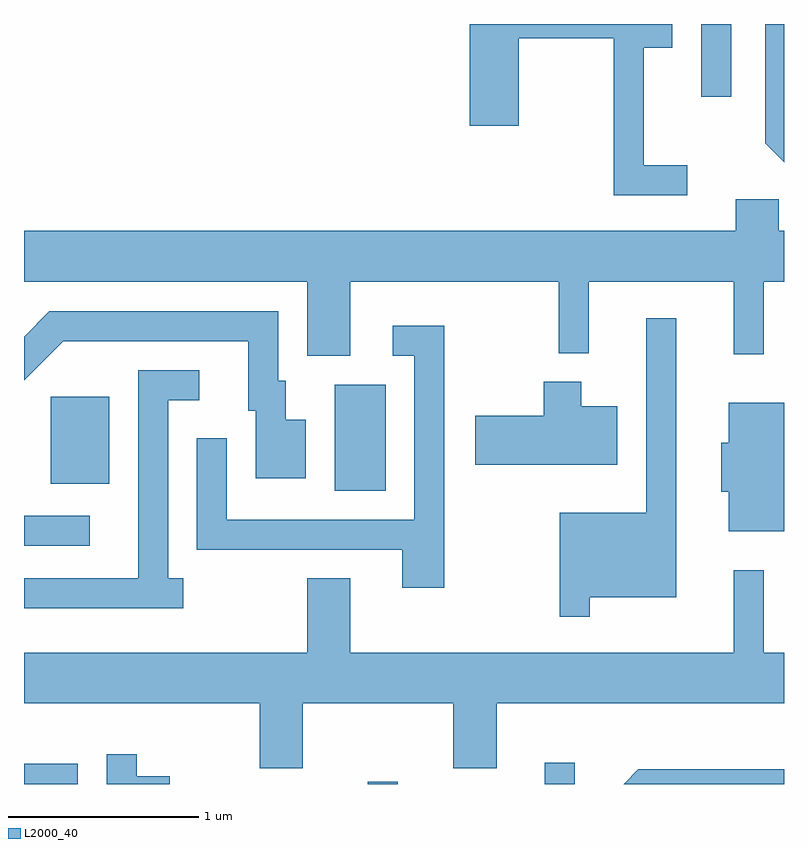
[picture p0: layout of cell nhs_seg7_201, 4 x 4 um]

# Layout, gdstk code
import gdstk
lib = gdstk.Library(unit=1e-6, precision=1e-09)
def R(c, l, rs):  # rectangles x0, y0, x1, y1
    for r in rs: c.add(gdstk.rectangle(r[:2], r[2:], *l))
def P(c, l, *ps):  # polygons
    for p in ps: c.add(gdstk.Polygon(p, *l))
L2000_40 = (2000, 40)

nhs_seg7_201 = lib.new_cell('nhs_seg7_201')
R(nhs_seg7_201, L2000_40, [(189.611,1798.252,189.894,1798.359), (191.421,1798.252,191.579,1798.263), (192.351,1798.252,192.509,1798.363), (189.611,1799.506,189.958,1799.664), (191.246,1799.796,191.514,1800.354), (189.751,1799.831,190.059,1800.289), (193.176,1801.868,193.334,1802.252)])
P(nhs_seg7_201, L2000_40, [(193.103,1801.509),(192.874,1801.509),(192.874,1802.126),(193.024,1802.126),(193.024,1802.252),(191.956,1802.252),(191.956,1801.716),(192.214,1801.716),(192.214,1802.176),(192.716,1802.176),(192.716,1801.351),(193.103,1801.351)],
  [(193.611,1802.252),(193.511,1802.252),(193.511,1801.624),(193.611,1801.524)],
  [(191.329,1800.896),(192.426,1800.896),(192.426,1800.518),(192.584,1800.518),(192.584,1800.896),(193.346,1800.896),(193.346,1800.513),(193.504,1800.513),(193.504,1800.896),(193.611,1800.896),(193.611,1801.164),(193.584,1801.164),(193.584,1801.329),(193.356,1801.329),(193.356,1801.164),(189.611,1801.164),(189.611,1800.896),(191.101,1800.896),(191.101,1800.506),(191.329,1800.506)],
  [(191.094,1800.169),(190.989,1800.169),(190.989,1800.374),(190.949,1800.374),(190.949,1800.739),(189.744,1800.739),(189.611,1800.606),(189.611,1800.376),(189.817,1800.581),(190.791,1800.581),(190.791,1800.216),(190.831,1800.216),(190.831,1799.861),(191.094,1799.861)],
  [(192.589,1799.236),(193.044,1799.236),(193.044,1800.703),(192.886,1800.703),(192.886,1799.679),(192.431,1799.679),(192.431,1799.133),(192.589,1799.133)],
  [(191.824,1800.664),(191.553,1800.664),(191.553,1800.506),(191.666,1800.506),(191.666,1799.644),(190.679,1799.644),(190.679,1800.073),(190.521,1800.073),(190.521,1799.486),(191.601,1799.486),(191.601,1799.286),(191.824,1799.286)],
  [(190.448,1799.334),(190.369,1799.334),(190.369,1800.271),(190.533,1800.271),(190.533,1800.429),(190.211,1800.429),(190.211,1799.334),(189.611,1799.334),(189.611,1799.176),(190.448,1799.176)],
  [(192.734,1800.239),(192.544,1800.239),(192.544,1800.369),(192.346,1800.369),(192.346,1800.189),(191.986,1800.189),(191.986,1799.931),(192.734,1799.931)],
  [(193.611,1800.259),(193.321,1800.259),(193.321,1800.049),(193.281,1800.049),(193.281,1799.791),(193.321,1799.791),(193.321,1799.581),(193.611,1799.581)],
  [(191.079,1798.676),(191.871,1798.676),(191.871,1798.336),(192.099,1798.336),(192.099,1798.676),(193.611,1798.676),(193.611,1798.944),(193.504,1798.944),(193.504,1799.378),(193.346,1799.378),(193.346,1798.944),(191.329,1798.944),(191.329,1799.334),(191.101,1799.334),(191.101,1798.944),(189.611,1798.944),(189.611,1798.676),(190.851,1798.676),(190.851,1798.336),(191.079,1798.336)],
  [(190.379,1798.294),(190.204,1798.294),(190.204,1798.408),(190.046,1798.408),(190.046,1798.252),(190.379,1798.252)],
  [(193.611,1798.329),(192.844,1798.329),(192.767,1798.252),(193.611,1798.252)])

lib.write_gds('nhs_seg7_201.gds')
